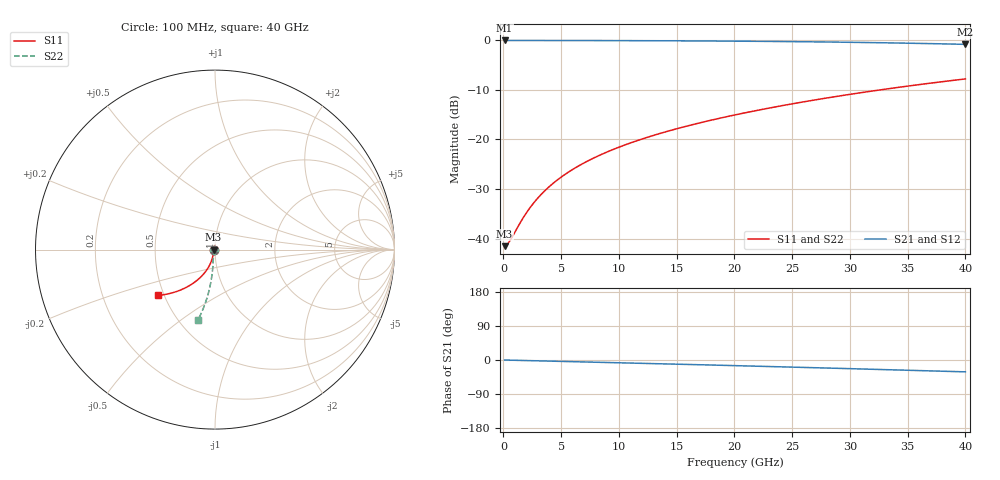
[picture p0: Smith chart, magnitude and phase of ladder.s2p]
! X_s8x2_L1L3_bd_d200: via ladder as kisi uses it (kisi_si::via_pbm, graded grid, junction model), ports at the via
# Hz S RI R 50
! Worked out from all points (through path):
!   400 points, 100 MHz to 40 GHz, reference 50 ohm
!   highest |S21| = -0.07 dB at 100 MHz (marker M1); lowest = -0.9 dB at 40 GHz (marker M2)
!   group delay of S21, straight-line fit = 2.17 ps
!   lowest |S11| = -41.5 dB at 100 MHz (marker M3), VSWR 1.02, Z = 49.2 - j0.078 ohm
!   |S11| at or under -10 dB: start of sweep to 32.72 GHz
!   |S22| runs from -41.5 to -7.9 dB; largest |S21 - S12| = 0
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1e8  -0.00835 -0.000793  0.9917 -0.00125  0.9917 -0.00125  -0.00835 -0.000801
3e8  -0.00836 -0.00238  0.9916 -0.00374  0.9916 -0.00374  -0.00835 -0.0024
6e8  -0.00841 -0.00476  0.9916 -0.00747  0.9916 -0.00747  -0.00835 -0.00481
1.5e9  -0.00874 -0.0119  0.9914 -0.0187  0.9914 -0.0187  -0.0084 -0.012
2.1e9  -0.00913 -0.0167  0.9912 -0.0261  0.9912 -0.0261  -0.00845 -0.0168
2.6e9  -0.00954 -0.0206  0.9909 -0.0324  0.9909 -0.0324  -0.00851 -0.0209
3.2e9  -0.0102 -0.0254  0.9905 -0.0398  0.9905 -0.0398  -0.0086 -0.0257
4e9  -0.0112 -0.0317  0.9899 -0.0498  0.9899 -0.0498  -0.00874 -0.0322
4.8e9  -0.0124 -0.0381  0.9891 -0.0598  0.9891 -0.0598  -0.00891 -0.0386
5.7e9  -0.0141 -0.0452  0.988 -0.071  0.988 -0.071  -0.00915 -0.046
6.8e9  -0.0166 -0.0539  0.9865 -0.0847  0.9865 -0.0847  -0.00951 -0.055
8.2e9  -0.0203 -0.0649  0.9841 -0.1022  0.9841 -0.1022  -0.0101 -0.0666
9.7e9  -0.0252 -0.0768  0.981 -0.1209  0.981 -0.1209  -0.0108 -0.0793
1.14e10  -0.0317 -0.0901  0.9769 -0.1421  0.9769 -0.1421  -0.0119 -0.0939
1.34e10  -0.0408 -0.1056  0.971 -0.1671  0.971 -0.1671  -0.0134 -0.1114
1.65e10  -0.058 -0.1294  0.9598 -0.2058  0.9598 -0.2058  -0.0166 -0.1396
2.01e10  -0.0829 -0.1562  0.9433 -0.2505  0.9433 -0.2505  -0.0218 -0.1741
2.33e10  -0.1097 -0.1788  0.9253 -0.2897  0.9253 -0.2897  -0.0281 -0.2063
2.67e10  -0.1429 -0.2009  0.9024 -0.3305  0.9024 -0.3305  -0.0367 -0.2421
3e10  -0.1797 -0.22  0.8763 -0.3688  0.8763 -0.3688  -0.0474 -0.2783
3.34e10  -0.2223 -0.2362  0.8454 -0.4062  0.8454 -0.4062  -0.061 -0.3168
4e10  -0.3162 -0.255  0.7742 -0.4705  0.7742 -0.4705  -0.0954 -0.3931
